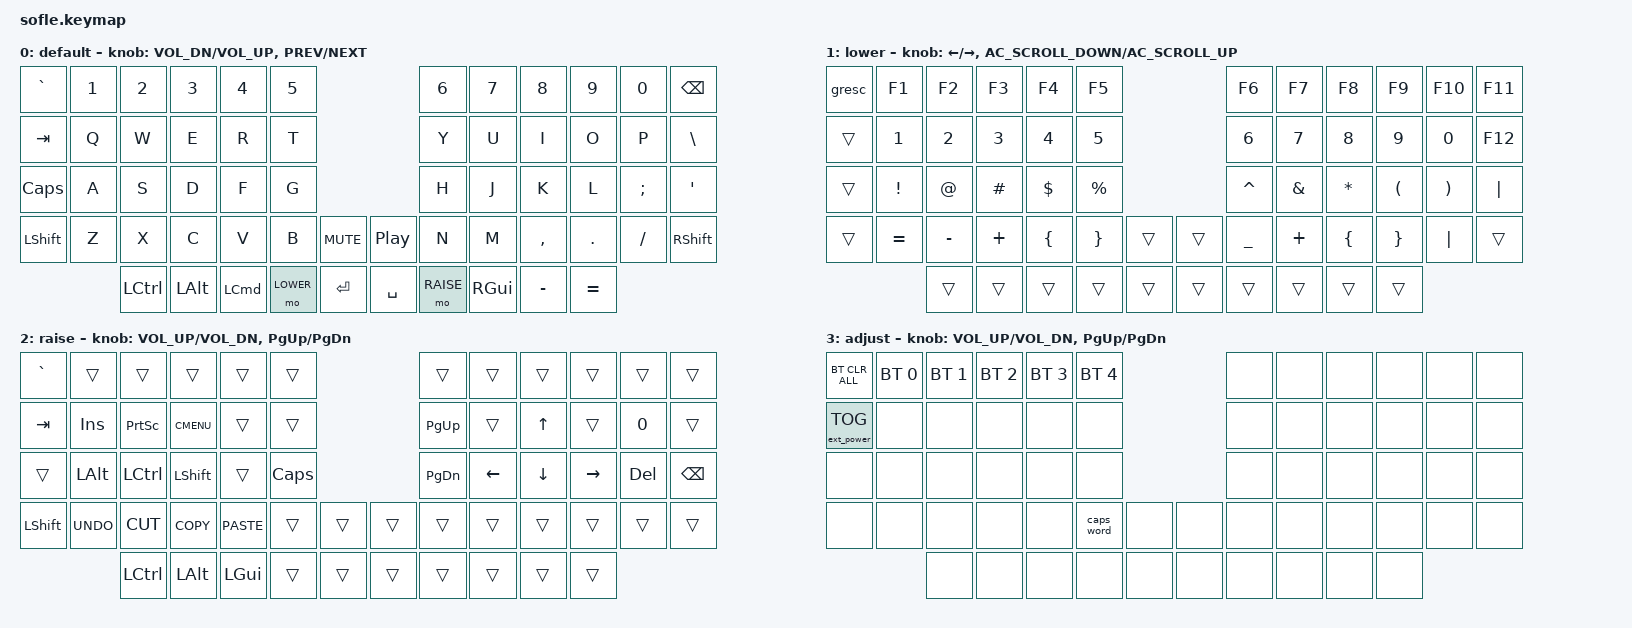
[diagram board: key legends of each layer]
/*
 * Copyright (c) 2020 The ZMK Contributors
 *
 * SPDX-License-Identifier: MIT
 */

#include <behaviors.dtsi>
#include <dt-bindings/zmk/bt.h>
#include <dt-bindings/zmk/ext_power.h>
#include <dt-bindings/zmk/keys.h>

#define BASE 0
#define LOWER 1
#define RAISE 2
#define ADJUST 3

/ {
    // Activate ADJUST layer by pressing raise and lower

    conditional_layers {
        compatible = "zmk,conditional-layers";

        adjust_layer {
            if-layers = <LOWER RAISE>;
            then-layer = <ADJUST>;
        };
    };

    combos {
        compatible = "zmk,combos";

        backspace {
            bindings = <&kp BACKSPACE>;
            key-positions = <32 31>;
        };

        delete {
            bindings = <&kp DELETE>;
            key-positions = <27 33>;
        };

        esc {
            bindings = <&kp ESCAPE>;
            key-positions = <25 41>;
        };

        RightBracket {
            bindings = <&kp RBKT>;
            key-positions = <10 11>;
        };

        LeftBracket {
            bindings = <&kp LBKT>;
            key-positions = <9 8>;
        };

        Pluus {
            bindings = <&kp EQUAL>;
            key-positions = <22 23>;
        };

        SlapEnter {
            bindings = <&kp ENTER>;
            key-positions = <33 32>;
        };

        OtherSlapEnter {
            bindings = <&kp ENTER>;
            key-positions = <34 33>;
        };
    };

    behaviors {
        caps: caps {
            compatible = "zmk,behavior-caps-word";
            label = "CAPS";
            #binding-cells = <0>;
            continue-list = <POUND MINUS BACKSPACE UNDERSCORE>;
        };
    };

    keymap {
        compatible = "zmk,keymap";

        default_layer {
            display-name = "default";

            // ------------------------------------------------------------------------------------------------------------
            // |   `   |  1  |  2  |  3   |  4   |  5   |                   |  6   |  7    |  8    |  9   |   0   |       |
            // |  ESC  |  Q  |  W  |  E   |  R   |  T   |                   |  Y   |  U    |  I    |  O   |   P   | BKSPC |
            // |  TAB  |  A  |  S  |  D   |  F   |  G   |                   |  H   |  J    |  K    |  L   |   ;   |   '   |
            // | SHIFT |  Z  |  X  |  C   |  V   |  B   |  MUTE  |  |       |  N   |  M    |  ,    |  .   |   /   | SHIFT |
            //               | GUI | ALT  | CTRL | LOWER|  ENTER |  | SPACE | RAISE| CTRL  | ALT   | GUI  |

            bindings = <
&kp GRAVE       &kp N1  &kp N2            &kp N3    &kp N4            &kp N5                                     &kp N6     &kp N7    &kp N8     &kp N9     &kp N0    &kp BACKSPACE
&kp TAB         &kp Q   &kp W             &kp E     &kp R             &kp T                                      &kp Y      &kp U     &kp I      &kp O      &kp P     &kp BSLH
&kp CAPSLOCK    &kp A   &kp S             &kp D     &kp F             &kp G                                      &kp H      &kp J     &kp K      &kp L      &kp SEMI  &kp SQT
&kp LEFT_SHIFT  &kp Z   &kp X             &kp C     &kp V             &kp B      &kp C_MUTE    &kp C_PLAY_PAUSE  &kp N      &kp M     &kp COMMA  &kp DOT    &kp FSLH  &kp RSHFT
                        &kp LEFT_CONTROL  &kp LALT  &kp LEFT_COMMAND  &mo LOWER  &kp ENTER     &kp SPACE         &mo RAISE  &kp RGUI  &kp MINUS  &kp EQUAL
            >;

            sensor-bindings =
                <&inc_dec_kp C_VOL_DN C_VOL_UP>,
                <&inc_dec_kp C_PREV C_NEXT>;
        };

        lower_layer {
            display-name = "lower";

            // TODO: Some binds are waiting for shifted keycode support.
            // ------------------------------------------------------------------------------------------------------------
            // |       |  F1 |  F2 |  F3  |  F4  |  F5  |                   |  F6  |  F7   |  F8   |  F9  |  F10  |  F11  |
            // |   `   |  1  |  2  |  3   |  4   |  5   |                   |  6   |  7    |  8    |  9   |   0   |  F12  |
            // |       |  !  |  @  |  #   |  $   |  %   |                   |  ^   |  &    |  *    |  (   |   )   |   |   |
            // |       |  =  |  -  |  +   |  {   |  }   |        |  |       |  [   |  ]    |  ;    |  :   |   \   |       |
            //               |     |      |      |      |        |  |       |      |       |       |      |

            bindings = <
&gresc  &kp F1     &kp F2     &kp F3    &kp F4    &kp F5                       &kp F6          &kp F7    &kp F8          &kp F9           &kp F10                &kp F11
&trans  &kp N1     &kp N2     &kp N3    &kp N4    &kp N5                       &kp NUMBER_6    &kp N7    &kp N8          &kp N9           &kp N0                 &kp F12
&trans  &kp EXCL   &kp AT     &kp HASH  &kp DLLR  &kp PRCNT                    &kp CARET       &kp AMPS  &kp ASTRK       &kp LPAR         &kp RIGHT_PARENTHESIS  &kp PIPE
&trans  &kp EQUAL  &kp MINUS  &kp PLUS  &kp LBRC  &kp RBRC   &trans    &trans  &kp UNDERSCORE  &kp PLUS  &kp LEFT_BRACE  &kp RIGHT_BRACE  &kp PIPE               &trans
                   &trans     &trans    &trans    &trans     &trans    &trans  &trans          &trans    &trans          &trans
            >;

            sensor-bindings =
                <&inc_dec_kp LEFT_ARROW RIGHT_ARROW>,
                <&inc_dec_kp C_AC_SCROLL_DOWN C_AC_SCROLL_UP>;
        };

        raise_layer {
            display-name = "raise";

            // ------------------------------------------------------------------------------------------------------------
            // | BTCLR | BT1  | BT2  |  BT3  |  BT4  |  BT5 |                |      |      |       |      |       |       |
            // |       | INS  | PSCR | GUI   |       |      |                | PGUP |      |   ^   |      |       |       |
            // |       | ALT  | CTRL | SHIFT |       | CAPS |                | PGDN |   <- |   v   |  ->  |  DEL  | BKSPC |
            // |       | UNDO | CUT  | COPY  | PASTE |      |      |  |      |      |      |       |      |       |       |
            //                |      |       |       |      |      |  |      |      |      |       |      |

            bindings = <
&kp GRAVE       &trans      &trans            &trans        &trans        &trans                      &trans     &trans    &trans    &trans     &trans   &trans
&kp TAB         &kp INS     &kp PSCRN         &kp K_CMENU   &trans        &trans                      &kp PG_UP  &trans    &kp UP    &trans     &kp N0   &trans
&trans          &kp LALT    &kp LCTRL         &kp LSHFT     &trans        &kp CLCK                    &kp PG_DN  &kp LEFT  &kp DOWN  &kp RIGHT  &kp DEL  &kp BSPC
&kp LEFT_SHIFT  &kp K_UNDO  &kp K_CUT         &kp K_COPY    &kp K_PASTE   &trans    &trans    &trans  &trans     &trans    &trans    &trans     &trans   &trans
                            &kp LEFT_CONTROL  &kp LEFT_ALT  &kp LEFT_GUI  &trans    &trans    &trans  &trans     &trans    &trans    &trans
            >;

            sensor-bindings = <&inc_dec_kp C_VOL_UP C_VOL_DN &inc_dec_kp PG_UP PG_DN>;
        };

        adjust_layer {
            // ----------------------------------------------------------------------------------------------------------------------------
            // | BTCLR  |  BT1    |  BT2    |   BT3   |   BT4   |   BT5   |                  |      |      |       |      |       |       |
            // | EXTPWR | RGB_HUD | RGB_HUI | RGB_SAD | RGB_SAI | RGB_EFF |                  |      |      |       |      |       |       |
            // |        | RGB_BRD | RGB_BRI |         |         |         |                  |      |      |       |      |       |       |
            // |        |         |         |         |         |         | RGB_TOG | |      |      |      |       |      |       |       |
            //                    |         |         |         |         |         | |      |      |      |       |      |

            display-name = "adjust";
            bindings = <
&bt BT_CLR_ALL         &bt BT_SEL 0  &bt BT_SEL 1  &bt BT_SEL 2  &bt BT_SEL 3  &bt BT_SEL 4                  &none  &none  &none  &none  &none  &none
&ext_power EP_TOG  &none         &none         &none         &none         &none                         &none  &none  &none  &none  &none  &none
&none              &none         &none         &none         &none         &none                         &none  &none  &none  &none  &none  &none
&none              &none         &none         &none         &none         &caps_word    &none    &none  &none  &none  &none  &none  &none  &none
                                 &none         &none         &none         &none         &none    &none  &none  &none  &none  &none
            >;

            sensor-bindings = <&inc_dec_kp C_VOL_UP C_VOL_DN &inc_dec_kp PG_UP PG_DN>;
        };
    };
};
